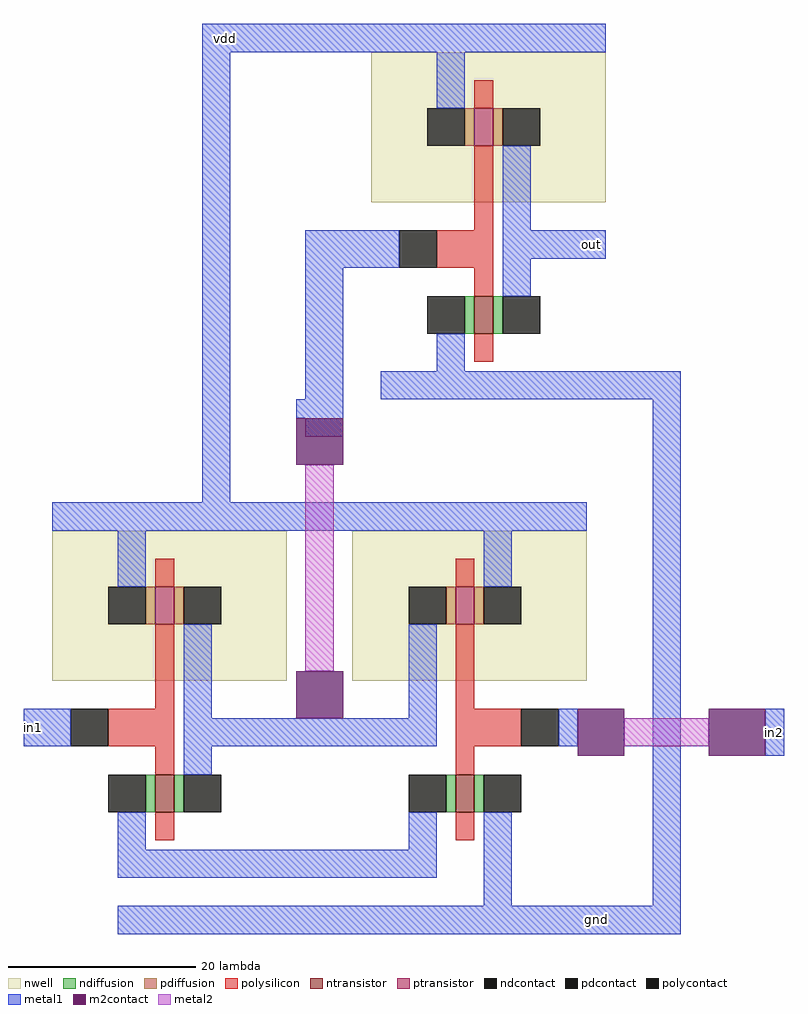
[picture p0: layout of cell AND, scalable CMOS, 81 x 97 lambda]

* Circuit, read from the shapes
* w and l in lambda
.subckt AND gnd in1 in2 out vdd
M1 not_0/in in1 n1 VSUBS nfet w=4 l=2
M2 gnd in2 n1 VSUBS nfet w=4 l=2
M3 out not_0/in gnd VSUBS nfet w=4 l=2
M4 not_0/in in1 vdd n2 pfet w=4 l=2
M5 vdd in2 not_0/in n3 pfet w=4 l=2
M6 out not_0/in vdd n4 pfet w=4 l=2
.ends

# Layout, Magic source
magic
tech scmos
<< metal1 >>
rect 15 95 33 98
rect 15 47 18 95
rect 26 72 34 76
rect 55 73 58 76
rect 26 58 30 72
rect 58 58 66 61
rect 26 54 30 56
rect -4 21 -2 25
rect 63 4 66 58
rect 75 20 77 25
rect 48 1 66 4
<< m2contact >>
rect 55 20 60 25
rect 69 20 75 25
<< metal2 >>
rect 60 21 69 24
use NAND  NAND_0
transform 1 0 -1 0 1 28
box -1 -27 57 30
use not  not_0
transform 1 0 33 0 1 79
box 0 -21 25 19
<< labels >>
rlabel metal1 55 73 58 76 1 out
rlabel metal1 -4 21 -2 25 3 in1
rlabel metal1 75 20 77 25 7 in2
rlabel metal1 48 1 66 4 1 gnd
rlabel metal1 15 95 20 98 5 vdd
<< end >>

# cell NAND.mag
magic
tech scmos
<< nwell >>
rect 0 0 25 16
rect 32 0 57 16
<< ntransistor >>
rect 11 -14 13 -10
rect 43 -14 45 -10
<< ptransistor >>
rect 11 6 13 10
rect 43 6 45 10
<< ndiffusion >>
rect 10 -14 11 -10
rect 13 -14 14 -10
rect 42 -14 43 -10
rect 45 -14 46 -10
<< pdiffusion >>
rect 10 6 11 10
rect 13 6 14 10
rect 42 6 43 10
rect 45 6 46 10
<< ndcontact >>
rect 6 -14 10 -10
rect 14 -14 18 -10
rect 38 -14 42 -10
rect 46 -14 50 -10
<< pdcontact >>
rect 6 6 10 10
rect 14 6 18 10
rect 38 6 42 10
rect 46 6 50 10
<< polysilicon >>
rect 11 10 13 13
rect 43 10 45 13
rect 11 -3 13 6
rect 6 -7 13 -3
rect 11 -10 13 -7
rect 43 -3 45 6
rect 43 -7 50 -3
rect 43 -10 45 -7
rect 11 -17 13 -14
rect 43 -17 45 -14
<< polycontact >>
rect 2 -7 6 -3
rect 50 -7 54 -3
<< metal1 >>
rect 26 28 31 30
rect 0 16 57 19
rect 7 10 10 16
rect 46 10 49 16
rect -1 -7 2 -3
rect 14 -4 17 6
rect 38 -4 41 6
rect 14 -7 41 -4
rect 54 -7 56 -3
rect 14 -10 17 -7
rect 7 -18 10 -14
rect 38 -18 41 -14
rect 7 -21 41 -18
rect 46 -24 49 -14
rect 7 -27 49 -24
<< m2contact >>
rect 26 23 31 28
rect 26 -4 31 1
<< metal2 >>
rect 27 1 30 23
<< labels >>
rlabel metal1 0 16 57 19 5 vdd
rlabel metal1 0 -7 2 -3 3 in1
rlabel metal1 54 -7 56 -3 7 in2
rlabel metal1 26 28 31 30 5 out
rlabel metal1 7 -27 49 -24 1 gnd
<< end >>

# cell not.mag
magic
tech scmos
<< nwell >>
rect 0 0 25 16
<< ntransistor >>
rect 11 -14 13 -10
<< ptransistor >>
rect 11 6 13 10
<< ndiffusion >>
rect 10 -14 11 -10
rect 13 -14 14 -10
<< pdiffusion >>
rect 10 6 11 10
rect 13 6 14 10
<< ndcontact >>
rect 6 -14 10 -10
rect 14 -14 18 -10
<< pdcontact >>
rect 6 6 10 10
rect 14 6 18 10
<< polysilicon >>
rect 11 10 13 13
rect 11 -3 13 6
rect 7 -7 13 -3
rect 11 -10 13 -7
rect 11 -17 13 -14
<< polycontact >>
rect 3 -7 7 -3
<< metal1 >>
rect 0 16 25 19
rect 7 10 10 16
rect 14 -3 17 6
rect 1 -7 3 -3
rect 14 -6 22 -3
rect 14 -10 17 -6
rect 7 -18 10 -14
rect 1 -21 25 -18
<< labels >>
rlabel metal1 0 16 25 19 5 vdd
rlabel metal1 17 -6 22 -3 1 out
rlabel metal1 1 -7 3 -3 3 in
rlabel metal1 1 -21 25 -18 1 gnd
<< end >>
